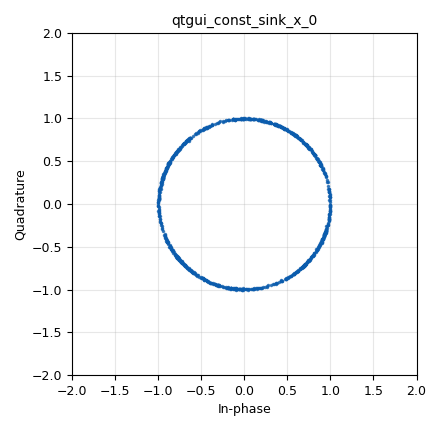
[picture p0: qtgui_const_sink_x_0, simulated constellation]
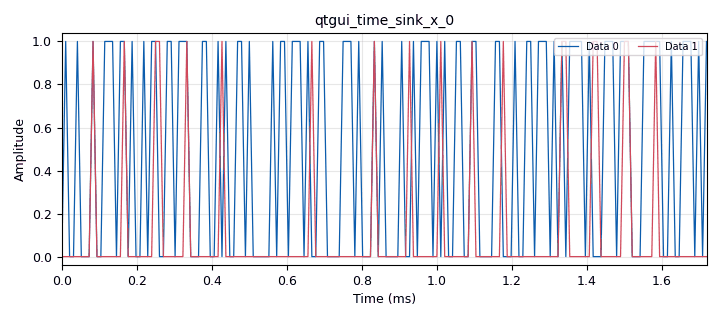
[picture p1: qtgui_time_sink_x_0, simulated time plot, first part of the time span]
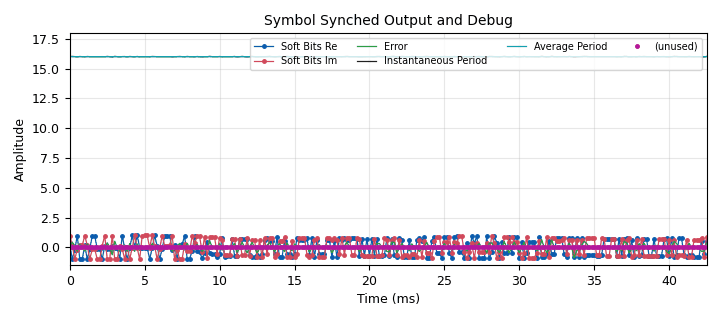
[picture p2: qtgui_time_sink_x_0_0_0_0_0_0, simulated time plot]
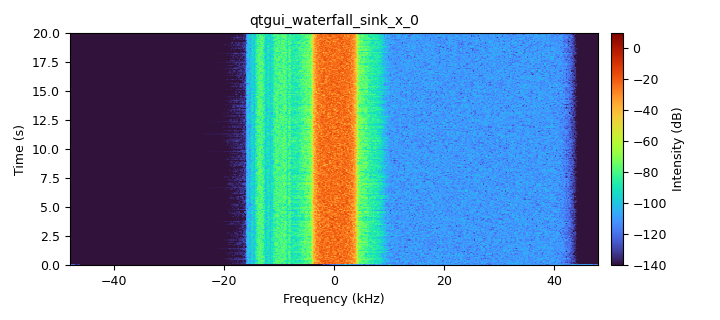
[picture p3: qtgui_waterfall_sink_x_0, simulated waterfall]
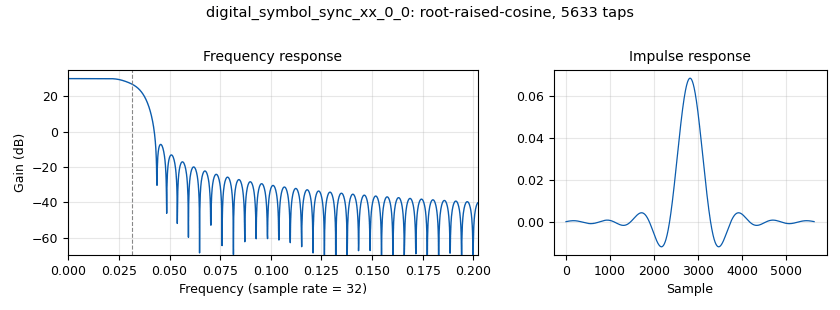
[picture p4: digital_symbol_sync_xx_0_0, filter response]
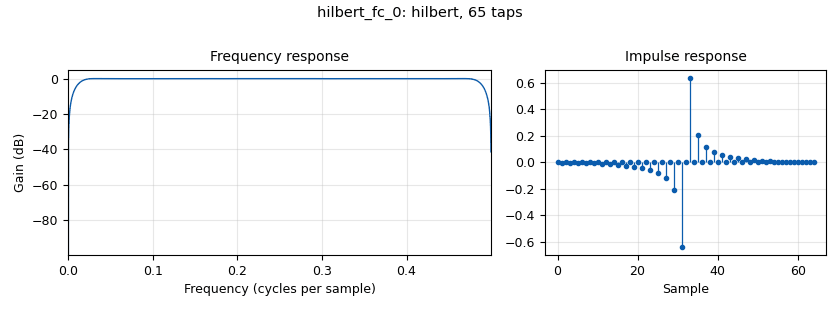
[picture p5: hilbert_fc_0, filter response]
<?xml version='1.0' encoding='utf-8'?>
<?grc format='1' created='3.7.13'?>
<flow_graph>
<block>
<key>options</key>
<param><key>id</key><value>top_block</value></param>
<param><key>generate_options</key><value>qt_gui</value></param>
</block>
<block>
<key>variable_qtgui_check_box</key>
<param><key>id</key><value>add_phase_noise</value></param>
<param><key>value</key><value>False</value></param>
<param><key>false</key><value>False</value></param>
<param><key>gui_hint</key><value>4,3</value></param>
<param><key>label</key><value>Phase Noise</value></param>
<param><key>true</key><value>True</value></param>
<param><key>type</key><value>bool</value></param>
</block>
<block>
<key>variable</key>
<param><key>id</key><value>baud_rate</value></param>
<param><key>value</key><value>samp_rate/sps</value></param>
</block>
<block>
<key>variable</key>
<param><key>id</key><value>bit_rate</value></param>
<param><key>value</key><value>samp_rate/sps*my_constellation.bits_per_symbol()</value></param>
</block>
<block>
<key>variable_qtgui_range</key>
<param><key>id</key><value>delay</value></param>
<param><key>value</key><value>348</value></param>
<param><key>gui_hint</key><value>1,3,1,1</value></param>
<param><key>label</key><value>Sample delay</value></param>
<param><key>orient</key><value>Qt.Horizontal</value></param>
<param><key>start</key><value>1</value></param>
<param><key>step</key><value>1</value></param>
<param><key>stop</key><value>500</value></param>
<param><key>rangeType</key><value>int</value></param>
</block>
<block>
<key>variable</key>
<param><key>id</key><value>exbw</value></param>
<param><key>value</key><value>.35</value></param>
</block>
<block>
<key>variable</key>
<param><key>id</key><value>fc</value></param>
<param><key>value</key><value>6000</value></param>
</block>
<block>
<key>variable</key>
<param><key>id</key><value>integral_gain</value></param>
<param><key>value</key><value>2.0/ted_gain*(1.0-math.exp(-zeta*omega_n_norm)*(math.sinh(zeta*omega_n_norm)+(math.cosh(omega_d_norm) if zeta &gt; 1.0 else math.cos(omega_d_norm))))</value></param>
</block>
<block>
<key>variable_qtgui_label</key>
<param><key>id</key><value>integral_gain_label</value></param>
<param><key>value</key><value>"%8.6f" % integral_gain</value></param>
<param><key>gui_hint</key><value>0,2</value></param>
<param><key>label</key><value>Integral Gain</value></param>
<param><key>type</key><value>string</value></param>
</block>
<block>
<key>variable_qtgui_range</key>
<param><key>id</key><value>k0_var</value></param>
<param><key>value</key><value>0</value></param>
<param><key>gui_hint</key><value>4,2</value></param>
<param><key>label</key><value>White phase noise</value></param>
<param><key>orient</key><value>Qt.Horizontal</value></param>
<param><key>start</key><value>0</value></param>
<param><key>step</key><value>.01</value></param>
<param><key>stop</key><value>.2</value></param>
</block>
<block>
<key>variable_qtgui_range</key>
<param><key>id</key><value>k2_var</value></param>
<param><key>value</key><value>0</value></param>
<param><key>gui_hint</key><value>4,1</value></param>
<param><key>label</key><value>Flicker noise</value></param>
<param><key>orient</key><value>Qt.Horizontal</value></param>
<param><key>start</key><value>0</value></param>
<param><key>step</key><value>.005</value></param>
<param><key>stop</key><value>.1</value></param>
</block>
<block>
<key>variable_constellation_rect</key>
<param><key>id</key><value>my_constellation</value></param>
<param><key>const_points</key><value>[-1-1j, -1+1j, 1+1j, 1-1j]</value></param>
<param><key>imag_sect</key><value>2</value></param>
<param><key>real_sect</key><value>2</value></param>
<param><key>rot_sym</key><value>4</value></param>
<param><key>sym_map</key><value>[0, 1, 3, 2]</value></param>
<param><key>w_imag_sect</key><value>1</value></param>
<param><key>w_real_sect</key><value>1</value></param>
</block>
<block>
<key>variable_constellation_rect</key>
<param><key>id</key><value>my_constellation</value></param>
<param><key>const_points</key><value>[-1-0j, 1+0j]</value></param>
<param><key>_enabled</key><value>0</value></param>
<param><key>imag_sect</key><value>1</value></param>
<param><key>real_sect</key><value>2</value></param>
<param><key>rot_sym</key><value>2</value></param>
<param><key>sym_map</key><value>[0, 1,]</value></param>
<param><key>w_imag_sect</key><value>1</value></param>
<param><key>w_real_sect</key><value>1</value></param>
</block>
<block>
<key>variable_constellation_rect</key>
<param><key>id</key><value>my_constellation</value></param>
<param><key>const_points</key><value>digital.qam_16()[0]</value></param>
<param><key>_enabled</key><value>0</value></param>
<param><key>imag_sect</key><value>2</value></param>
<param><key>real_sect</key><value>2</value></param>
<param><key>rot_sym</key><value>4</value></param>
<param><key>sym_map</key><value>digital.qam_16()[1]</value></param>
<param><key>w_imag_sect</key><value>3</value></param>
<param><key>w_real_sect</key><value>3</value></param>
</block>
<block>
<key>variable_constellation_rect</key>
<param><key>id</key><value>my_constellation3</value></param>
<param><key>const_points</key><value>digital.psk_4()[0]</value></param>
<param><key>_enabled</key><value>0</value></param>
<param><key>imag_sect</key><value>2</value></param>
<param><key>real_sect</key><value>2</value></param>
<param><key>rot_sym</key><value>4</value></param>
<param><key>sym_map</key><value>digital.psk_4()[1]</value></param>
<param><key>w_imag_sect</key><value>1</value></param>
<param><key>w_real_sect</key><value>1</value></param>
</block>
<block>
<key>variable</key>
<param><key>id</key><value>omega_d_norm</value></param>
<param><key>value</key><value>omega_n_norm*math.sqrt((zeta*zeta-1.0) if zeta &gt; 1.0 else (1.0-zeta*zeta))</value></param>
</block>
<block>
<key>variable_qtgui_range</key>
<param><key>id</key><value>omega_n_norm</value></param>
<param><key>value</key><value>0.1</value></param>
<param><key>gui_hint</key><value>1,1,1,1</value></param>
<param><key>label</key><value>Normalized Bandwidth</value></param>
<param><key>orient</key><value>Qt.Horizontal</value></param>
<param><key>start</key><value>0.0</value></param>
<param><key>step</key><value>0.001</value></param>
<param><key>stop</key><value>2.0*math.pi*0.25</value></param>
</block>
<block>
<key>variable</key>
<param><key>id</key><value>osps</value></param>
<param><key>value</key><value>1</value></param>
</block>
<block>
<key>variable</key>
<param><key>id</key><value>proportional_gain</value></param>
<param><key>value</key><value>2.0/ted_gain*math.exp(-zeta*omega_n_norm)*math.sinh(zeta*omega_n_norm)</value></param>
</block>
<block>
<key>variable_qtgui_label</key>
<param><key>id</key><value>proportional_gain_label</value></param>
<param><key>value</key><value>"%8.6f" % proportional_gain</value></param>
<param><key>gui_hint</key><value>1,2,1,1</value></param>
<param><key>label</key><value>Proportional Gain</value></param>
<param><key>type</key><value>string</value></param>
</block>
<block>
<key>variable</key>
<param><key>id</key><value>samp_rate</value></param>
<param><key>value</key><value>96000</value></param>
</block>
<block>
<key>variable_qtgui_range</key>
<param><key>id</key><value>snr</value></param>
<param><key>value</key><value>40</value></param>
<param><key>gui_hint</key><value>2,3,1,1</value></param>
<param><key>label</key><value>SNR</value></param>
<param><key>orient</key><value>Qt.Horizontal</value></param>
<param><key>start</key><value>10</value></param>
<param><key>step</key><value>1</value></param>
<param><key>stop</key><value>70</value></param>
</block>
<block>
<key>variable</key>
<param><key>id</key><value>sps</value></param>
<param><key>value</key><value>16</value></param>
</block>
<block>
<key>variable_qtgui_range</key>
<param><key>id</key><value>ted_gain</value></param>
<param><key>value</key><value>2</value></param>
<param><key>gui_hint</key><value>1,0,1,1</value></param>
<param><key>label</key><value>Expected TED Gain</value></param>
<param><key>orient</key><value>Qt.Horizontal</value></param>
<param><key>start</key><value>0.05</value></param>
<param><key>step</key><value>0.01</value></param>
<param><key>stop</key><value>5.0</value></param>
</block>
<block>
<key>variable_qtgui_range</key>
<param><key>id</key><value>zeta</value></param>
<param><key>value</key><value>.5</value></param>
<param><key>gui_hint</key><value>0,1,1,1</value></param>
<param><key>label</key><value>Damping Factor</value></param>
<param><key>orient</key><value>Qt.Horizontal</value></param>
<param><key>start</key><value>0.1</value></param>
<param><key>step</key><value>0.1</value></param>
<param><key>stop</key><value>5.0</value></param>
</block>
<block>
<key>analog_noise_source_x</key>
<param><key>id</key><value>analog_noise_source_x_0</value></param>
<param><key>amp</key><value>10**(-snr*.1)</value></param>
<param><key>noise_type</key><value>analog.GR_GAUSSIAN</value></param>
<param><key>type</key><value>float</value></param>
<param><key>seed</key><value>0</value></param>
</block>
<block>
<key>analog_random_source_x</key>
<param><key>id</key><value>analog_random_source_x_0</value></param>
<param><key>max</key><value>256</value></param>
<param><key>min</key><value>0</value></param>
<param><key>num_samps</key><value>100000</value></param>
<param><key>type</key><value>byte</value></param>
<param><key>repeat</key><value>True</value></param>
</block>
<block>
<key>blocks_add_xx</key>
<param><key>id</key><value>blocks_add_xx_0</value></param>
<param><key>type</key><value>float</value></param>
</block>
<block>
<key>blocks_complex_to_real</key>
<param><key>id</key><value>blocks_complex_to_real_0</value></param>
</block>
<block>
<key>blocks_delay</key>
<param><key>id</key><value>blocks_delay_0</value></param>
<param><key>delay</key><value>delay</value></param>
<param><key>type</key><value>float</value></param>
</block>
<block>
<key>blocks_float_to_complex</key>
<param><key>id</key><value>blocks_float_to_complex_0_0</value></param>
</block>
<block>
<key>blocks_float_to_complex</key>
<param><key>id</key><value>blocks_float_to_complex_1_0</value></param>
</block>
<block>
<key>blocks_multiply_const_vxx</key>
<param><key>id</key><value>blocks_multiply_const_vxx_0</value></param>
<param><key>const</key><value>1</value></param>
<param><key>type</key><value>complex</value></param>
</block>
<block>
<key>blocks_rotator_cc</key>
<param><key>id</key><value>blocks_rotator_cc_0</value></param>
<param><key>phase_inc</key><value>2*math.pi*fc/samp_rate</value></param>
</block>
<block>
<key>blocks_rotator_cc</key>
<param><key>id</key><value>blocks_rotator_cc_0_0</value></param>
<param><key>_enabled</key><value>2</value></param>
<param><key>phase_inc</key><value>-2*math.pi*fc/samp_rate</value></param>
</block>
<block>
<key>blocks_throttle</key>
<param><key>id</key><value>blocks_throttle_0</value></param>
<param><key>samples_per_second</key><value>samp_rate</value></param>
<param><key>type</key><value>complex</value></param>
</block>
<block>
<key>blocks_uchar_to_float</key>
<param><key>id</key><value>blocks_uchar_to_float_0</value></param>
</block>
<block>
<key>blocks_uchar_to_float</key>
<param><key>id</key><value>blocks_uchar_to_float_0_0</value></param>
</block>
<block>
<key>blocks_unpack_k_bits_bb</key>
<param><key>id</key><value>blocks_unpack_k_bits_bb_0</value></param>
<param><key>k</key><value>8</value></param>
</block>
<block>
<key>blocks_unpack_k_bits_bb</key>
<param><key>id</key><value>blocks_unpack_k_bits_bb_0_0</value></param>
<param><key>k</key><value>8</value></param>
</block>
<block>
<key>blocks_vector_source_x</key>
<param><key>id</key><value>blocks_vector_source_x_0</value></param>
<param><key>_enabled</key><value>0</value></param>
<param><key>type</key><value>byte</value></param>
<param><key>repeat</key><value>True</value></param>
<param><key>vector</key><value>(0,1,3,2)</value></param>
</block>
<block>
<key>digital_constellation_decoder_cb</key>
<param><key>id</key><value>digital_constellation_decoder_cb_0</value></param>
<param><key>constellation</key><value>my_constellation.base()</value></param>
</block>
<block>
<key>digital_constellation_modulator</key>
<param><key>id</key><value>digital_constellation_modulator_0</value></param>
<param><key>constellation</key><value>my_constellation</value></param>
<param><key>differential</key><value>True</value></param>
<param><key>excess_bw</key><value>exbw</value></param>
<param><key>samples_per_symbol</key><value>sps</value></param>
</block>
<block>
<key>digital_fll_band_edge_cc</key>
<param><key>id</key><value>digital_fll_band_edge_cc_0</value></param>
<param><key>rolloff</key><value>exbw</value></param>
<param><key>w</key><value>.01</value></param>
<param><key>filter_size</key><value>44</value></param>
<param><key>samps_per_sym</key><value>sps</value></param>
<param><key>type</key><value>cc</value></param>
</block>
<block>
<key>digital_symbol_sync_xx</key>
<param><key>id</key><value>digital_symbol_sync_xx_0_0</value></param>
<param><key>damping</key><value>zeta</value></param>
<param><key>ted_gain</key><value>ted_gain</value></param>
<param><key>nfilters</key><value>32</value></param>
<param><key>type</key><value>cc</value></param>
<param><key>resamp_type</key><value>digital.IR_PFB_MF</value></param>
<param><key>loop_bw</key><value>omega_n_norm</value></param>
<param><key>max_dev</key><value>.1</value></param>
<param><key>osps</key><value>osps</value></param>
<param><key>pfb_mf_taps</key><value>firdes.root_raised_cosine(32, 32, 1.0/float(sps), exbw, 11*sps*32)</value></param>
<param><key>sps</key><value>sps</value></param>
<param><key>constellation</key><value>digital.constellation_16qam().base()</value></param>
<param><key>ted_type</key><value>digital.TED_GARDNER</value></param>
</block>
<block>
<key>hilbert_fc</key>
<param><key>id</key><value>hilbert_fc_0</value></param>
<param><key>num_taps</key><value>65</value></param>
<param><key>win</key><value>firdes.WIN_HAMMING</value></param>
</block>
<block>
<key>import</key>
<param><key>id</key><value>import_0</value></param>
<param><key>import</key><value>import math</value></param>
</block>
<block>
<key>import</key>
<param><key>id</key><value>import_0_0</value></param>
<param><key>import</key><value>from gnuradio import digital</value></param>
</block>
<block>
<key>qtgui_const_sink_x</key>
<param><key>id</key><value>qtgui_const_sink_x_0</value></param>
<param><key>gui_hint</key><value>3,0</value></param>
<param><key>size</key><value>1024</value></param>
<param><key>type</key><value>complex</value></param>
</block>
<block>
<key>qtgui_time_sink_x</key>
<param><key>id</key><value>qtgui_time_sink_x_0</value></param>
<param><key>gui_hint</key><value>2,1,1,2</value></param>
<param><key>color1</key><value>"blue"</value></param>
<param><key>label1</key><value></value></param>
<param><key>color2</key><value>"red"</value></param>
<param><key>label2</key><value></value></param>
<param><key>nconnections</key><value>2</value></param>
<param><key>size</key><value>600</value></param>
<param><key>srate</key><value>samp_rate</value></param>
<param><key>tr_level</key><value>0.5</value></param>
<param><key>tr_mode</key><value>qtgui.TRIG_MODE_NORM</value></param>
<param><key>type</key><value>float</value></param>
<param><key>ymin</key><value>0</value></param>
</block>
<block>
<key>qtgui_time_sink_x</key>
<param><key>id</key><value>qtgui_time_sink_x_0_0_0_0_0_0</value></param>
<param><key>gui_hint</key><value>3,1,1,2</value></param>
<param><key>color1</key><value>"blue"</value></param>
<param><key>label1</key><value>Soft Bits Re</value></param>
<param><key>marker1</key><value>1</value></param>
<param><key>color2</key><value>"magenta"</value></param>
<param><key>label2</key><value>Soft Bits Im</value></param>
<param><key>marker2</key><value>0</value></param>
<param><key>color3</key><value>"red"</value></param>
<param><key>label3</key><value>Error</value></param>
<param><key>color4</key><value>"green"</value></param>
<param><key>label4</key><value>Instantaneous Period</value></param>
<param><key>color5</key><value>"black"</value></param>
<param><key>label5</key><value>Average Period</value></param>
<param><key>color6</key><value>"yellow"</value></param>
<param><key>label6</key><value>(unused)</value></param>
<param><key>style6</key><value>0</value></param>
<param><key>name</key><value>Symbol Synched Output and Debug</value></param>
<param><key>nconnections</key><value>3</value></param>
<param><key>size</key><value>256*osps</value></param>
<param><key>srate</key><value>baud_rate*osps</value></param>
<param><key>tr_delay</key><value>0.01</value></param>
<param><key>tr_level</key><value>0.1</value></param>
<param><key>tr_mode</key><value>qtgui.TRIG_MODE_NORM</value></param>
<param><key>tr_tag</key><value>"time_est"</value></param>
<param><key>type</key><value>complex</value></param>
<param><key>update_time</key><value>0.1</value></param>
<param><key>ymax</key><value>sps+2</value></param>
<param><key>ymin</key><value>-1.5</value></param>
</block>
<block>
<key>qtgui_waterfall_sink_x</key>
<param><key>id</key><value>qtgui_waterfall_sink_x_0</value></param>
<param><key>bw</key><value>samp_rate</value></param>
<param><key>fc</key><value>0</value></param>
<param><key>fftsize</key><value>1024</value></param>
<param><key>gui_hint</key><value>2,0,1,1</value></param>
<param><key>showports</key><value>True</value></param>
<param><key>type</key><value>complex</value></param>
<param><key>wintype</key><value>firdes.WIN_BLACKMAN_hARRIS</value></param>
</block>
<block>
<key>shfcc_phase_noise_mixer_cc</key>
<param><key>id</key><value>shfcc_phase_noise_mixer_cc_0</value></param>
<param><key>cfo_ampl</key><value>50</value></param>
<param><key>cfo_freq</key><value>10</value></param>
<param><key>_enabled</key><value>0</value></param>
<param><key>impair</key><value>add_phase_noise</value></param>
<param><key>k0</key><value>k0_var</value></param>
<param><key>k2</key><value>k2_var</value></param>
<param><key>fc</key><value>-fc</value></param>
<param><key>fs</key><value>samp_rate</value></param>
</block>
<connection><source_block_id>analog_noise_source_x_0</source_block_id><sink_block_id>blocks_add_xx_0</sink_block_id><source_key>0</source_key><sink_key>0</sink_key></connection>
<connection><source_block_id>analog_random_source_x_0</source_block_id><sink_block_id>blocks_unpack_k_bits_bb_0</sink_block_id><source_key>0</source_key><sink_key>0</sink_key></connection>
<connection><source_block_id>analog_random_source_x_0</source_block_id><sink_block_id>digital_constellation_modulator_0</sink_block_id><source_key>0</source_key><sink_key>0</sink_key></connection>
<connection><source_block_id>blocks_add_xx_0</source_block_id><sink_block_id>hilbert_fc_0</sink_block_id><source_key>0</source_key><sink_key>0</sink_key></connection>
<connection><source_block_id>blocks_complex_to_real_0</source_block_id><sink_block_id>blocks_add_xx_0</sink_block_id><source_key>0</source_key><sink_key>1</sink_key></connection>
<connection><source_block_id>blocks_delay_0</source_block_id><sink_block_id>qtgui_time_sink_x_0</sink_block_id><source_key>0</source_key><sink_key>0</sink_key></connection>
<connection><source_block_id>blocks_float_to_complex_0_0</source_block_id><sink_block_id>qtgui_time_sink_x_0_0_0_0_0_0</sink_block_id><source_key>0</source_key><sink_key>1</sink_key></connection>
<connection><source_block_id>blocks_float_to_complex_1_0</source_block_id><sink_block_id>qtgui_time_sink_x_0_0_0_0_0_0</sink_block_id><source_key>0</source_key><sink_key>2</sink_key></connection>
<connection><source_block_id>blocks_multiply_const_vxx_0</source_block_id><sink_block_id>digital_symbol_sync_xx_0_0</sink_block_id><source_key>0</source_key><sink_key>0</sink_key></connection>
<connection><source_block_id>blocks_multiply_const_vxx_0</source_block_id><sink_block_id>qtgui_waterfall_sink_x_0</sink_block_id><source_key>0</source_key><sink_key>0</sink_key></connection>
<connection><source_block_id>blocks_rotator_cc_0</source_block_id><sink_block_id>blocks_complex_to_real_0</sink_block_id><source_key>0</source_key><sink_key>0</sink_key></connection>
<connection><source_block_id>blocks_rotator_cc_0_0</source_block_id><sink_block_id>blocks_throttle_0</sink_block_id><source_key>0</source_key><sink_key>0</sink_key></connection>
<connection><source_block_id>blocks_throttle_0</source_block_id><sink_block_id>digital_fll_band_edge_cc_0</sink_block_id><source_key>0</source_key><sink_key>0</sink_key></connection>
<connection><source_block_id>blocks_uchar_to_float_0</source_block_id><sink_block_id>blocks_delay_0</sink_block_id><source_key>0</source_key><sink_key>0</sink_key></connection>
<connection><source_block_id>blocks_uchar_to_float_0_0</source_block_id><sink_block_id>qtgui_time_sink_x_0</sink_block_id><source_key>0</source_key><sink_key>1</sink_key></connection>
<connection><source_block_id>blocks_unpack_k_bits_bb_0</source_block_id><sink_block_id>blocks_uchar_to_float_0</sink_block_id><source_key>0</source_key><sink_key>0</sink_key></connection>
<connection><source_block_id>blocks_unpack_k_bits_bb_0_0</source_block_id><sink_block_id>blocks_uchar_to_float_0_0</sink_block_id><source_key>0</source_key><sink_key>0</sink_key></connection>
<connection><source_block_id>blocks_vector_source_x_0</source_block_id><sink_block_id>blocks_unpack_k_bits_bb_0</sink_block_id><source_key>0</source_key><sink_key>0</sink_key></connection>
<connection><source_block_id>blocks_vector_source_x_0</source_block_id><sink_block_id>digital_constellation_modulator_0</sink_block_id><source_key>0</source_key><sink_key>0</sink_key></connection>
<connection><source_block_id>digital_constellation_decoder_cb_0</source_block_id><sink_block_id>blocks_unpack_k_bits_bb_0_0</sink_block_id><source_key>0</source_key><sink_key>0</sink_key></connection>
<connection><source_block_id>digital_constellation_modulator_0</source_block_id><sink_block_id>blocks_rotator_cc_0</sink_block_id><source_key>0</source_key><sink_key>0</sink_key></connection>
<connection><source_block_id>digital_fll_band_edge_cc_0</source_block_id><sink_block_id>blocks_multiply_const_vxx_0</sink_block_id><source_key>0</source_key><sink_key>0</sink_key></connection>
<connection><source_block_id>digital_symbol_sync_xx_0_0</source_block_id><sink_block_id>blocks_float_to_complex_1_0</sink_block_id><source_key>3</source_key><sink_key>0</sink_key></connection>
<connection><source_block_id>digital_symbol_sync_xx_0_0</source_block_id><sink_block_id>blocks_float_to_complex_0_0</sink_block_id><source_key>2</source_key><sink_key>1</sink_key></connection>
<connection><source_block_id>digital_symbol_sync_xx_0_0</source_block_id><sink_block_id>blocks_float_to_complex_0_0</sink_block_id><source_key>1</source_key><sink_key>0</sink_key></connection>
<connection><source_block_id>digital_symbol_sync_xx_0_0</source_block_id><sink_block_id>digital_constellation_decoder_cb_0</sink_block_id><source_key>0</source_key><sink_key>0</sink_key></connection>
<connection><source_block_id>digital_symbol_sync_xx_0_0</source_block_id><sink_block_id>qtgui_const_sink_x_0</sink_block_id><source_key>0</source_key><sink_key>0</sink_key></connection>
<connection><source_block_id>digital_symbol_sync_xx_0_0</source_block_id><sink_block_id>qtgui_time_sink_x_0_0_0_0_0_0</sink_block_id><source_key>0</source_key><sink_key>0</sink_key></connection>
<connection><source_block_id>hilbert_fc_0</source_block_id><sink_block_id>blocks_rotator_cc_0_0</sink_block_id><source_key>0</source_key><sink_key>0</sink_key></connection>
<connection><source_block_id>hilbert_fc_0</source_block_id><sink_block_id>shfcc_phase_noise_mixer_cc_0</sink_block_id><source_key>0</source_key><sink_key>0</sink_key></connection>
<connection><source_block_id>shfcc_phase_noise_mixer_cc_0</source_block_id><sink_block_id>blocks_rotator_cc_0_0</sink_block_id><source_key>0</source_key><sink_key>0</sink_key></connection>
<connection><source_block_id>shfcc_phase_noise_mixer_cc_0</source_block_id><sink_block_id>blocks_throttle_0</sink_block_id><source_key>0</source_key><sink_key>0</sink_key></connection>
</flow_graph>
